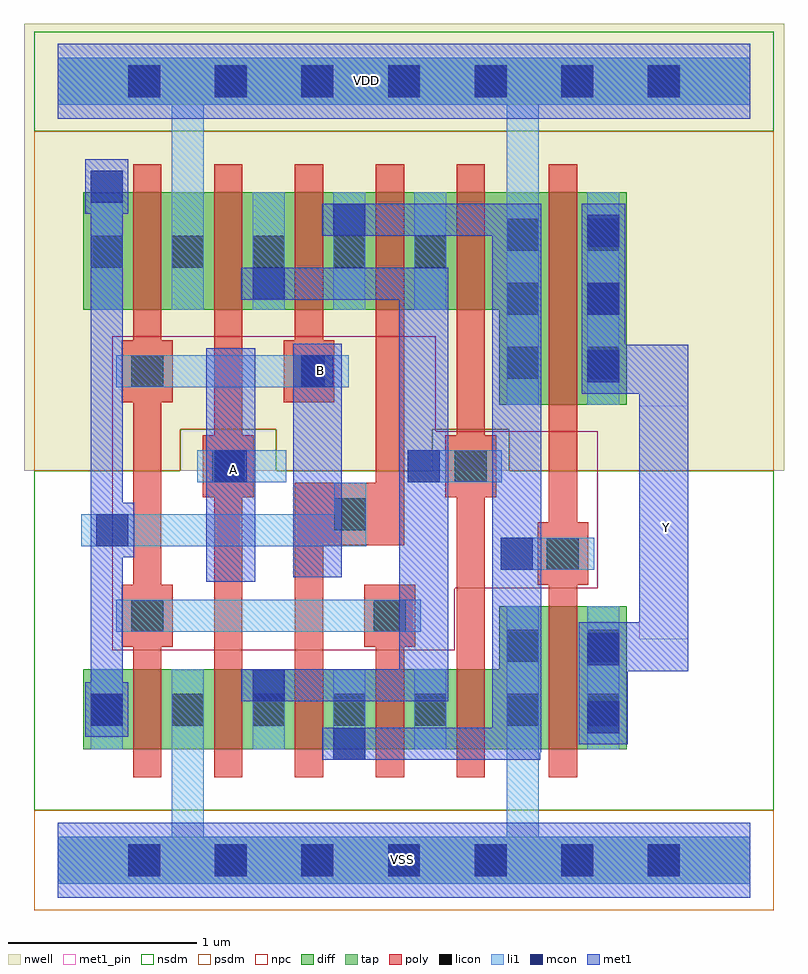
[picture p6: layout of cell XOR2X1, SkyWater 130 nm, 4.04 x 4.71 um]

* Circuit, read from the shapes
.subckt XOR2X1 A B VDD VSS Y
XM1 VSS B n1 VSS sky130_fd_pr__nfet_01v8 w=0.425 l=0.15
XM2 n2 A VSS VSS sky130_fd_pr__nfet_01v8 w=0.425 l=0.15
XM3 n3 n1 n2 VSS sky130_fd_pr__nfet_01v8 w=0.425 l=0.15
XM4 n4 B n3 VSS sky130_fd_pr__nfet_01v8 w=0.425 l=0.15
XM5 VSS n2 n4 VSS sky130_fd_pr__nfet_01v8 w=0.425 l=0.15
XM6 Y n3 VSS VSS sky130_fd_pr__nfet_01v8 w=0.76 l=0.15
XM7 VDD B n1 VDD sky130_fd_pr__pfet_01v8 w=0.625 l=0.15
XM8 n2 A VDD VDD sky130_fd_pr__pfet_01v8 w=0.625 l=0.15
XM9 n3 B n2 VDD sky130_fd_pr__pfet_01v8 w=0.625 l=0.15
XM10 n5 n1 n3 VDD sky130_fd_pr__pfet_01v8 w=0.625 l=0.15
XM11 VDD n2 n5 VDD sky130_fd_pr__pfet_01v8 w=0.625 l=0.15
XM12 Y n3 VDD VDD sky130_fd_pr__pfet_01v8 w=1.13 l=0.15
.ends

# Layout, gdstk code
from math import pi, radians
import gdstk
lib = gdstk.Library(unit=1e-6, precision=1e-09)
def R(c, l, rs):  # rectangles x0, y0, x1, y1
    for r in rs: c.add(gdstk.rectangle(r[:2], r[2:], *l))
def A(c, l, x, y, w, h, nx, ny, dx, dy):  # array of equal rectangles
    R(c, l, [(x+i*dx, y+j*dy, x+i*dx+w, y+j*dy+h) for i in range(nx) for j in range(ny)])
def P(c, l, *ps):  # polygons
    for p in ps: c.add(gdstk.Polygon(p, *l))
nwell = (64, 20)
diff = (65, 20)
tap = (65, 44)
poly = (66, 20)
licon = (66, 44)
li1 = (67, 20)
mcon = (67, 44)
met1_pin = (68, 16)
met1 = (68, 20)
nsdm = (93, 44)
psdm = (94, 20)
npc = (95, 20)

pfet_01v8_cdns_716492285 = lib.new_cell('pfet_01v8_CDNS_7164922852232')
R(pfet_01v8_cdns_716492285, nwell, [(-0.405,-0.18,0.385,0.805)])
R(pfet_01v8_cdns_716492285, diff, [(-0.225,0,0,0.625), (0,0,0.15,0.625), (0.15,0,0.205,0.625)])
R(pfet_01v8_cdns_716492285, poly, [(0,-0.15,0.15,-0.095), (0,-0.095,0.15,0), (0,0,0.15,0.625), (0,0.625,0.15,0.72), (0,0.72,0.15,0.775)])
R(pfet_01v8_cdns_716492285, psdm, [(-0.235,-0.13,0.215,0.755)])

nfet_01v8_cdns_716492285 = lib.new_cell('nfet_01v8_CDNS_7164922852233')
R(nfet_01v8_cdns_716492285, diff, [(-0.225,0,0,0.425), (0,0,0.15,0.425), (0.15,0,0.205,0.425)])
R(nfet_01v8_cdns_716492285, poly, [(0,-0.15,0.15,-0.095), (0,-0.095,0.15,0), (0,0,0.15,0.425), (0,0.425,0.15,0.52), (0,0.52,0.15,0.575)])
R(nfet_01v8_cdns_716492285, nsdm, [(-0.235,-0.13,0.215,0.555)])

c_nfet_01v8_cdns_716492285 = lib.new_cell('nfet_01v8_CDNS_7164922852225')
R(c_nfet_01v8_cdns_716492285, diff, [(-0.075,0,0,0.425), (0,0,0.15,0.425), (0.15,0,0.205,0.425)])
R(c_nfet_01v8_cdns_716492285, poly, [(0,-0.15,0.15,-0.095), (0,-0.095,0.15,0), (0,0,0.15,0.425), (0,0.425,0.15,0.52), (0,0.52,0.15,0.575)])
R(c_nfet_01v8_cdns_716492285, nsdm, [(0.045,-0.13,0.215,0.555)])

c_nfet_01v8_cdns_716492285_ = lib.new_cell('nfet_01v8_CDNS_7164922852234')
R(c_nfet_01v8_cdns_716492285_, diff, [(-0.265,0,0,0.76), (0,0,0.15,0.76), (0.15,0,0.415,0.76)])
R(c_nfet_01v8_cdns_716492285_, poly, [(0,-0.15,0.15,-0.095), (0,-0.095,0.15,0), (0,0,0.15,0.76), (0,0.76,0.15,0.855), (0,0.855,0.15,0.91)])
R(c_nfet_01v8_cdns_716492285_, licon, [(-0.225,0.125,-0.055,0.295), (0.205,0.125,0.375,0.295), (-0.225,0.465,-0.055,0.635), (0.205,0.465,0.375,0.635)])
R(c_nfet_01v8_cdns_716492285_, li1, [(-0.225,0,-0.055,0.76), (0.205,0,0.375,0.76)])
R(c_nfet_01v8_cdns_716492285_, nsdm, [(-0.405,-0.13,0.555,0.89)])

c_pfet_01v8_cdns_716492285 = lib.new_cell('pfet_01v8_CDNS_7164922852219')
R(c_pfet_01v8_cdns_716492285, nwell, [(-0.405,-0.18,0.595,0.805)])
R(c_pfet_01v8_cdns_716492285, diff, [(-0.225,0,0,0.625), (0,0,0.15,0.625), (0.15,0,0.415,0.625)])
R(c_pfet_01v8_cdns_716492285, poly, [(0,-0.15,0.15,-0.095), (0,-0.095,0.15,0), (0,0,0.15,0.625), (0,0.625,0.15,0.72), (0,0.72,0.15,0.775)])
R(c_pfet_01v8_cdns_716492285, licon, [(-0.225,0.225,-0.055,0.395), (0.205,0.225,0.375,0.395)])
R(c_pfet_01v8_cdns_716492285, li1, [(-0.225,0,-0.055,0.625), (0.205,0,0.375,0.625)])
R(c_pfet_01v8_cdns_716492285, psdm, [(-0.235,-0.13,0.555,0.755)])

c_pfet_01v8_cdns_716492285_ = lib.new_cell('pfet_01v8_CDNS_7164922852235')
R(c_pfet_01v8_cdns_716492285_, nwell, [(-0.255,-0.18,0.385,0.805)])
R(c_pfet_01v8_cdns_716492285_, diff, [(-0.075,0,0,0.625), (0,0,0.15,0.625), (0.15,0,0.205,0.625)])
R(c_pfet_01v8_cdns_716492285_, poly, [(0,-0.15,0.15,-0.095), (0,-0.095,0.15,0), (0,0,0.15,0.625), (0,0.625,0.15,0.72), (0,0.72,0.15,0.775)])
R(c_pfet_01v8_cdns_716492285_, psdm, [(0.045,-0.13,0.215,0.755)])

c_pfet_01v8_cdns_716492285__ = lib.new_cell('pfet_01v8_CDNS_7164922852236')
R(c_pfet_01v8_cdns_716492285__, nwell, [(-0.235,-0.18,0.555,0.805)])
R(c_pfet_01v8_cdns_716492285__, diff, [(-0.055,0,0,0.625), (0,0,0.15,0.625), (0.15,0,0.375,0.625)])
R(c_pfet_01v8_cdns_716492285__, poly, [(0,-0.15,0.15,-0.095), (0,-0.095,0.15,0), (0,0,0.15,0.625), (0,0.625,0.15,0.72), (0,0.72,0.15,0.775)])
R(c_pfet_01v8_cdns_716492285__, licon, [(0.205,0.225,0.375,0.395)])
R(c_pfet_01v8_cdns_716492285__, li1, [(0.205,0,0.375,0.625)])
R(c_pfet_01v8_cdns_716492285__, psdm, [(-0.065,-0.13,0.385,0.755)])

c_pfet_01v8_cdns_716492285___ = lib.new_cell('pfet_01v8_CDNS_7164922852237')
R(c_pfet_01v8_cdns_716492285___, nwell, [(-0.405,-0.18,0.385,0.805)])
R(c_pfet_01v8_cdns_716492285___, diff, [(-0.225,0,0,0.625), (0,0,0.15,0.625), (0.15,0,0.205,0.625)])
R(c_pfet_01v8_cdns_716492285___, poly, [(0,-0.15,0.15,-0.095), (0,-0.095,0.15,0), (0,0,0.15,0.625), (0,0.625,0.15,0.72), (0,0.72,0.15,0.775)])
R(c_pfet_01v8_cdns_716492285___, licon, [(-0.225,0.225,-0.055,0.395)])
R(c_pfet_01v8_cdns_716492285___, li1, [(-0.225,0,-0.055,0.625)])
R(c_pfet_01v8_cdns_716492285___, psdm, [(-0.235,-0.13,0.215,0.755)])

c_nfet_01v8_cdns_716492285__ = lib.new_cell('nfet_01v8_CDNS_716492285226')
R(c_nfet_01v8_cdns_716492285__, diff, [(-0.225,0,0,0.425), (0,0,0.15,0.425), (0.15,0,0.415,0.425)])
R(c_nfet_01v8_cdns_716492285__, poly, [(0,-0.15,0.15,-0.095), (0,-0.095,0.15,0), (0,0,0.15,0.425), (0,0.425,0.15,0.52), (0,0.52,0.15,0.575)])
R(c_nfet_01v8_cdns_716492285__, licon, [(-0.225,0.125,-0.055,0.295), (0.205,0.125,0.375,0.295)])
R(c_nfet_01v8_cdns_716492285__, li1, [(-0.225,0,-0.055,0.425), (0.205,0,0.375,0.425)])
R(c_nfet_01v8_cdns_716492285__, nsdm, [(-0.235,-0.13,0.555,0.555)])

c_pfet_01v8_cdns_716492285____ = lib.new_cell('pfet_01v8_CDNS_7164922852238')
R(c_pfet_01v8_cdns_716492285____, nwell, [(-0.445,-0.18,0.595,1.31)])
R(c_pfet_01v8_cdns_716492285____, diff, [(-0.265,0,0,1.13), (0,0,0.15,1.13), (0.15,0,0.415,1.13)])
R(c_pfet_01v8_cdns_716492285____, poly, [(0,-0.15,0.15,-0.095), (0,-0.095,0.15,0), (0,0,0.15,1.13), (0,1.13,0.15,1.225), (0,1.225,0.15,1.28)])
A(c_pfet_01v8_cdns_716492285____, licon, -0.225, 0.14, 0.17, 0.17, 1, 3, 0, 0.34)
A(c_pfet_01v8_cdns_716492285____, licon, 0.205, 0.14, 0.17, 0.17, 1, 3, 0, 0.34)
R(c_pfet_01v8_cdns_716492285____, li1, [(-0.225,0,-0.055,1.13), (0.205,0,0.375,1.13)])
R(c_pfet_01v8_cdns_716492285____, psdm, [(-0.405,-0.13,0.555,1.26)])

c_nfet_01v8_cdns_716492285___ = lib.new_cell('nfet_01v8_CDNS_7164922852239')
R(c_nfet_01v8_cdns_716492285___, diff, [(-0.055,0,0,0.425), (0,0,0.15,0.425), (0.15,0,0.375,0.425)])
R(c_nfet_01v8_cdns_716492285___, poly, [(0,-0.15,0.15,-0.095), (0,-0.095,0.15,0), (0,0,0.15,0.425), (0,0.425,0.15,0.52), (0,0.52,0.15,0.575)])
R(c_nfet_01v8_cdns_716492285___, licon, [(0.205,0.125,0.375,0.295)])
R(c_nfet_01v8_cdns_716492285___, li1, [(0.205,0,0.375,0.425)])
R(c_nfet_01v8_cdns_716492285___, nsdm, [(-0.065,-0.13,0.385,0.555)])

c_nfet_01v8_cdns_716492285____ = lib.new_cell('nfet_01v8_CDNS_7164922852230')
R(c_nfet_01v8_cdns_716492285____, diff, [(-0.055,0,0,0.425), (0,0,0.15,0.425), (0.15,0,0.375,0.425)])
R(c_nfet_01v8_cdns_716492285____, poly, [(0,-0.15,0.15,-0.095), (0,-0.095,0.15,0), (0,0,0.15,0.425), (0,0.425,0.15,0.52), (0,0.52,0.15,0.575)])
R(c_nfet_01v8_cdns_716492285____, licon, [(0.205,0.125,0.375,0.295)])
R(c_nfet_01v8_cdns_716492285____, li1, [(0.205,0,0.375,0.425)])
R(c_nfet_01v8_cdns_716492285____, nsdm, [(-0.065,-0.13,0.385,0.555)])

l1m1_c_cdns_716492285221 = lib.new_cell('L1M1_C_CDNS_7164922852214')
R(l1m1_c_cdns_716492285221, li1, [(-0.085,-0.165,0.085,0.085)])
R(l1m1_c_cdns_716492285221, mcon, [(-0.085,-0.085,0.085,0.085)])
R(l1m1_c_cdns_716492285221, met1, [(-0.115,-0.145,0.115,0.145)])

l1m1_c_cdns_716492285225 = lib.new_cell('L1M1_C_CDNS_716492285225')
R(l1m1_c_cdns_716492285225, li1, [(-0.085,-0.345,0.085,0.345)])
R(l1m1_c_cdns_716492285225, mcon, [(-0.085,-0.265,0.085,-0.095), (-0.085,0.095,0.085,0.265)])
R(l1m1_c_cdns_716492285225, met1, [(-0.115,-0.325,0.115,0.325)])

l1m1_c_cdns_716492285222 = lib.new_cell('L1M1_C_CDNS_716492285222')
R(l1m1_c_cdns_716492285222, li1, [(-0.085,-0.165,0.085,0.165)])
R(l1m1_c_cdns_716492285222, mcon, [(-0.085,-0.085,0.085,0.085)])
R(l1m1_c_cdns_716492285222, met1, [(-0.115,-0.145,0.115,0.145)])

pyl1con_c_cdns_716492285 = lib.new_cell('PYL1CON_C_CDNS_716492285220')
R(pyl1con_c_cdns_716492285, poly, [(-0.135,-0.165,0.135,0.165)])
R(pyl1con_c_cdns_716492285, licon, [(-0.085,-0.085,0.085,0.085)])
R(pyl1con_c_cdns_716492285, npc, [(-0.185,-0.185,0.185,0.185)])

l1m1_c_cdns_716492285223 = lib.new_cell('L1M1_C_CDNS_716492285223')
R(l1m1_c_cdns_716492285223, li1, [(-0.165,-0.085,0.165,0.085)])
R(l1m1_c_cdns_716492285223, mcon, [(-0.085,-0.085,0.085,0.085)])
R(l1m1_c_cdns_716492285223, met1, [(-0.115,-0.145,0.115,0.145)])

c_l1m1_c_cdns_716492285221 = lib.new_cell('L1M1_C_CDNS_7164922852212')
R(c_l1m1_c_cdns_716492285221, li1, [(-0.085,-0.085,0.085,0.085)])
R(c_l1m1_c_cdns_716492285221, mcon, [(-0.085,-0.085,0.085,0.085)])
R(c_l1m1_c_cdns_716492285221, met1, [(-0.145,-0.085,0.145,0.085)])

licondiff_c_cdns_7164922 = lib.new_cell('LICONDIFF_C_CDNS_7164922852213')
R(licondiff_c_cdns_7164922, diff, [(-0.125,-0.145,0.125,0.145)])
R(licondiff_c_cdns_7164922, licon, [(-0.085,-0.085,0.085,0.085), (-0.085,-0.085,0.085,0.085)])

l1m1_c_cdns_716492285224 = lib.new_cell('L1M1_C_CDNS_716492285224')
R(l1m1_c_cdns_716492285224, li1, [(-0.085,-0.525,0.085,0.525)])
A(l1m1_c_cdns_716492285224, mcon, -0.085, -0.445, 0.17, 0.17, 1, 3, 0, 0.36)
R(l1m1_c_cdns_716492285224, met1, [(-0.115,-0.505,0.115,0.505)])

c_l1m1_c_cdns_716492285221_ = lib.new_cell('L1M1_C_CDNS_7164922852215')
R(c_l1m1_c_cdns_716492285221_, li1, [(-0.085,-0.165,0.085,0.085)])
R(c_l1m1_c_cdns_716492285221_, mcon, [(-0.085,-0.085,0.085,0.085)])
R(c_l1m1_c_cdns_716492285221_, met1, [(-0.115,-0.13,0.115,0.13)])

xor2x1 = lib.new_cell('XOR2X1')
R(xor2x1, nwell, [(-0.18,2.07,3.86,4.305), (-0.18,3.875,3.86,4.445)])
A(xor2x1, licon, 0.375, -0.085, 0.17, 0.17, 7, 2, 0.46, 4.14)
A(xor2x1, mcon, 0.375, -0.085, 0.17, 0.17, 7, 2, 0.46, 4.14)
R(xor2x1, met1_pin, [(3.09,1.175,3.35,2.415), (0.79,1.48,1.05,2.72), (1.25,1.505,1.51,2.745)])
R(xor2x1, nsdm, [(-0.125,3.875,3.805,4.405), (-0.125,3.93,3.805,4.35)])
P(xor2x1, nsdm, [(3.805,2.07),(2.4,2.07),(2.4,2.29),(1.99,2.29),(1.99,2.07),(1.16,2.07),(1.16,2.29),(0.65,2.29),(0.65,2.07),(-0.125,2.07),(-0.125,0.265),(3.805,0.265)])
R(xor2x1, psdm, [(-0.125,-0.265,3.805,0.265), (-0.125,-0.21,3.805,0.21)])
P(xor2x1, psdm, [(3.805,3.875),(-0.125,3.875),(-0.125,2.07),(0.65,2.07),(0.65,2.29),(1.16,2.29),(1.16,2.07),(1.99,2.07),(1.99,2.29),(2.4,2.29),(2.4,2.07),(3.805,2.07)])
P(xor2x1, npc, [(2.87,2.28),(2.01,2.28),(2.01,2.785),(0.29,2.785),(0.29,1.115),(2.11,1.115),(2.11,1.445),(2.87,1.445)])
xor2x1.add(gdstk.FlexPath([(2.685,2.27),(2.685,1.44)], 0.15, ends="flush", simple_path=True, layer=66, datatype=20))  # poly
xor2x1.add(gdstk.FlexPath([(2.195,2.775),(2.195,1.165)], 0.15, ends="flush", simple_path=True, layer=66, datatype=20))  # poly
xor2x1.add(gdstk.FlexPath([(1.335,2.775),(1.335,2.6)], 0.15, ends="flush", simple_path=True, layer=66, datatype=20))  # poly
xor2x1.add(gdstk.FlexPath([(1.765,2.775),(1.765,1.815)], 0.15, ends=(0, 0.14), simple_path=True, layer=66, datatype=20))  # poly
xor2x1.add(gdstk.FlexPath([(1.395,1.84),(1.69,1.84)], 0.33, ends="flush", simple_path=True, layer=66, datatype=20))  # poly
xor2x1.add(gdstk.FlexPath([(1.335,1.865),(1.335,1.165)], 0.15, ends=(0.14, 0), simple_path=True, layer=66, datatype=20))  # poly
xor2x1.add(gdstk.FlexPath([(1.765,1.165),(1.765,1.34)], 0.15, ends="flush", simple_path=True, layer=66, datatype=20))  # poly
xor2x1.add(gdstk.FlexPath([(0.905,2.775),(0.905,1.135)], 0.15, ends="flush", simple_path=True, layer=66, datatype=20))  # poly
xor2x1.add(gdstk.FlexPath([(0.475,2.775),(0.475,1.165)], 0.15, ends="flush", simple_path=True, layer=66, datatype=20))  # poly
xor2x1.add(gdstk.FlexPath([(2.435,1.63),(2.85,1.63)], 0.17, ends="flush", simple_path=True, layer=67, datatype=20))  # li1
xor2x1.add(gdstk.FlexPath([(1.215,2.095),(0.74,2.095)], 0.17, ends="flush", simple_path=True, layer=67, datatype=20))  # li1
xor2x1.add(gdstk.FlexPath([(0.31,2.6),(1.5,2.6)], 0.17, ends="flush", simple_path=True, layer=67, datatype=20))  # li1
xor2x1.add(gdstk.FlexPath([(0.25,1.755),(1.64,1.755)], 0.17, ends="flush", simple_path=True, layer=67, datatype=20))  # li1
xor2x1.add(gdstk.FlexPath([(0.31,1.3),(1.93,1.3)], 0.17, ends="flush", simple_path=True, layer=67, datatype=20))  # li1
xor2x1.add(gdstk.FlexPath([(1.945,2.095),(2.36,2.095)], 0.17, ends="flush", simple_path=True, layer=67, datatype=20))  # li1
xor2x1.add(gdstk.FlexPath([(1.98,2.925),(1.98,3.55)], 0.17, ends="flush", simple_path=True, layer=67, datatype=20))  # li1
xor2x1.add(gdstk.FlexPath([(1.98,0.59),(1.98,1.015)], 0.17, ends="flush", simple_path=True, layer=67, datatype=20))  # li1
xor2x1.add(gdstk.FlexPath([(1.555,1.84),(1.555,2.005)], 0.17, ends="flush", simple_path=True, layer=67, datatype=20))  # li1
xor2x1.add(gdstk.FlexPath([(2.47,0),(3.42,0)], 0.25, ends=(0.085, 0.085), simple_path=True, layer=67, datatype=20))  # li1
xor2x1.add(gdstk.FlexPath([(3.42,0),(3.595,0)], 0.25, ends=(0.085, 0.085), simple_path=True, layer=67, datatype=20))  # li1
xor2x1.add(gdstk.FlexPath([(0.69,0),(2.47,0)], 0.25, ends=(0.085, 0.085), simple_path=True, layer=67, datatype=20))  # li1
xor2x1.add(gdstk.FlexPath([(3.595,0),(3.68,0)], 0.25, ends=(0.085, 0), simple_path=True, layer=67, datatype=20))  # li1
xor2x1.add(gdstk.FlexPath([(0,0),(0.69,0)], 0.25, ends=(0, 0.085), simple_path=True, layer=67, datatype=20))  # li1
xor2x1.add(gdstk.FlexPath([(2.47,4.14),(3.42,4.14)], 0.25, ends=(0.085, 0.085), simple_path=True, layer=67, datatype=20))  # li1
xor2x1.add(gdstk.FlexPath([(0,4.14),(0.69,4.14)], 0.25, ends=(0, 0.085), simple_path=True, layer=67, datatype=20))  # li1
xor2x1.add(gdstk.FlexPath([(3.42,4.14),(3.595,4.14)], 0.25, ends=(0.085, 0.085), simple_path=True, layer=67, datatype=20))  # li1
xor2x1.add(gdstk.FlexPath([(0.69,4.14),(2.47,4.14)], 0.25, ends=(0.085, 0.085), simple_path=True, layer=67, datatype=20))  # li1
xor2x1.add(gdstk.FlexPath([(0.69,0.59),(0.69,0)], 0.17, ends=(0, 0.085), simple_path=True, layer=67, datatype=20))  # li1
xor2x1.add(gdstk.FlexPath([(3.595,4.14),(3.68,4.14)], 0.25, ends=(0.085, 0), simple_path=True, layer=67, datatype=20))  # li1
xor2x1.add(gdstk.FlexPath([(2.47,0),(2.47,0.59)], 0.17, ends=(0.085, 0), simple_path=True, layer=67, datatype=20))  # li1
xor2x1.add(gdstk.FlexPath([(0.69,0),(2.47,0)], 0.17, ends="extended", simple_path=True, layer=67, datatype=20))  # li1
xor2x1.add(gdstk.FlexPath([(0.69,3.55),(0.69,4.14)], 0.17, ends=(0, 0.085), simple_path=True, layer=67, datatype=20))  # li1
xor2x1.add(gdstk.FlexPath([(2.47,3.55),(2.47,4.14)], 0.17, ends=(0, 0.085), simple_path=True, layer=67, datatype=20))  # li1
xor2x1.add(gdstk.FlexPath([(2.47,4.14),(0.69,4.14)], 0.17, ends="extended", simple_path=True, layer=67, datatype=20))  # li1
xor2x1.add(gdstk.FlexPath([(0,0),(3.68,0)], 0.4, ends="flush", simple_path=True, layer=68, datatype=16))  # met1_pin
xor2x1.add(gdstk.FlexPath([(0,4.14),(3.68,4.14)], 0.4, ends="flush", simple_path=True, layer=68, datatype=16))  # met1_pin
xor2x1.add(gdstk.FlexPath([(0,4.14),(3.68,4.14)], 0.25, ends="flush", simple_path=True, layer=65, datatype=44))  # tap
xor2x1.add(gdstk.FlexPath([(0,0),(3.68,0)], 0.25, ends="flush", simple_path=True, layer=65, datatype=44))  # tap
xor2x1.add(gdstk.FlexPath([(3.22,1.175),(3.22,1.135)], 0.26, ends=(0, 0.13), simple_path=True, layer=68, datatype=20))  # met1
xor2x1.add(gdstk.FlexPath([(3.22,1.135),(2.9,1.135)], 0.26, ends="extended", simple_path=True, layer=68, datatype=20))  # met1
xor2x1.add(gdstk.FlexPath([(2.9,1.065),(2.9,0.94)], 0.26, ends=(0.13, 0.325), simple_path=True, layer=68, datatype=20))  # met1
xor2x1.add(gdstk.FlexPath([(3.22,2.415),(3.22,2.61)], 0.26, ends=(0, 0.13), simple_path=True, layer=68, datatype=20))  # met1
xor2x1.add(gdstk.FlexPath([(3.22,2.61),(2.9,2.61)], 0.26, ends=(0.13, 0), simple_path=True, layer=68, datatype=20))  # met1
xor2x1.add(gdstk.FlexPath([(1.405,3.405),(2.44,3.405)], 0.17, ends=(0, 0.13), simple_path=True, layer=68, datatype=20))  # met1
xor2x1.add(gdstk.FlexPath([(2.435,0.62),(1.405,0.62)], 0.17, ends=(0.13, 0), simple_path=True, layer=68, datatype=20))  # met1
xor2x1.add(gdstk.FlexPath([(2.44,3.405),(2.44,2.165)], 0.26, ends=(0.085, 0), simple_path=True, layer=68, datatype=20))  # met1
xor2x1.add(gdstk.FlexPath([(2.44,2.165),(2.44,0.66)], 0.26, ends=(0, 0.085), simple_path=True, layer=68, datatype=20))  # met1
xor2x1.add(gdstk.FlexPath([(0.975,3.065),(1.945,3.065)], 0.17, ends=(0, 0.13), simple_path=True, layer=68, datatype=20))  # met1
xor2x1.add(gdstk.FlexPath([(1.945,3.065),(1.945,2.165)], 0.26, ends=(0.085, 0), simple_path=True, layer=68, datatype=20))  # met1
xor2x1.add(gdstk.FlexPath([(1.945,0.93),(1.12,0.93)], 0.17, ends=(0.13, 0), simple_path=True, layer=68, datatype=20))  # met1
xor2x1.add(gdstk.FlexPath([(1.945,2.165),(1.945,0.97)], 0.26, ends=(0, 0.085), simple_path=True, layer=68, datatype=20))  # met1
xor2x1.add(gdstk.FlexPath([(0.26,0.655),(0.26,3.725)], 0.17, ends="flush", simple_path=True, layer=68, datatype=20))  # met1
xor2x1.add(gdstk.FlexPath([(0.92,1.48),(0.92,2.72)], 0.26, ends="flush", simple_path=True, layer=68, datatype=20))  # met1
xor2x1.add(gdstk.FlexPath([(1.38,1.505),(1.38,2.745)], 0.26, ends="flush", simple_path=True, layer=68, datatype=20))  # met1
xor2x1.add(gdstk.FlexPath([(3.22,1.175),(3.22,2.415)], 0.26, ends="flush", simple_path=True, layer=68, datatype=20))  # met1
xor2x1.add(gdstk.FlexPath([(0,4.14),(3.68,4.14)], 0.4, ends="flush", simple_path=True, layer=68, datatype=20))  # met1
xor2x1.add(gdstk.FlexPath([(0,0),(3.68,0)], 0.4, ends="flush", simple_path=True, layer=68, datatype=20))  # met1
xor2x1.add(gdstk.Reference(pfet_01v8_cdns_716492285, (1.84,2.925), rotation=pi, x_reflection=True))
xor2x1.add(gdstk.Reference(nfet_01v8_cdns_716492285, (1.84,0.59), rotation=pi, x_reflection=True))
xor2x1.add(gdstk.Reference(c_nfet_01v8_cdns_716492285, (2.27,0.59), rotation=pi, x_reflection=True))
xor2x1.add(gdstk.Reference(c_nfet_01v8_cdns_716492285_, (2.61,0.59)))
xor2x1.add(gdstk.Reference(c_pfet_01v8_cdns_716492285, (0.55,2.925), rotation=pi, x_reflection=True))
xor2x1.add(gdstk.Reference(c_pfet_01v8_cdns_716492285_, (2.27,2.925), rotation=pi, x_reflection=True))
xor2x1.add(gdstk.Reference(c_pfet_01v8_cdns_716492285__, (0.83,2.925)))
xor2x1.add(gdstk.Reference(c_pfet_01v8_cdns_716492285___, (1.41,2.925), rotation=pi, x_reflection=True))
xor2x1.add(gdstk.Reference(c_nfet_01v8_cdns_716492285__, (0.55,0.59), rotation=pi, x_reflection=True))
xor2x1.add(gdstk.Reference(c_pfet_01v8_cdns_716492285____, (2.61,2.42)))
xor2x1.add(gdstk.Reference(c_nfet_01v8_cdns_716492285___, (0.83,0.59)))
xor2x1.add(gdstk.Reference(c_nfet_01v8_cdns_716492285____, (1.26,0.59)))
xor2x1.add(gdstk.Reference(l1m1_c_cdns_716492285221, (0.26,3.58)))
xor2x1.add(gdstk.Reference(l1m1_c_cdns_716492285225, (2.9,0.94)))
xor2x1.add(gdstk.Reference(l1m1_c_cdns_716492285222, (0.26,0.8)))
xor2x1.add(gdstk.Reference(pyl1con_c_cdns_716492285, (2.685,1.63), rotation=pi))
xor2x1.add(gdstk.Reference(pyl1con_c_cdns_716492285, (2.195,2.095), rotation=pi))
xor2x1.add(gdstk.Reference(pyl1con_c_cdns_716492285, (0.905,2.095), rotation=pi))
xor2x1.add(gdstk.Reference(pyl1con_c_cdns_716492285, (1.335,2.6), rotation=pi))
xor2x1.add(gdstk.Reference(pyl1con_c_cdns_716492285, (0.475,2.6), rotation=pi))
xor2x1.add(gdstk.Reference(pyl1con_c_cdns_716492285, (1.555,1.84), rotation=pi))
xor2x1.add(gdstk.Reference(pyl1con_c_cdns_716492285, (1.765,1.3), rotation=pi))
xor2x1.add(gdstk.Reference(pyl1con_c_cdns_716492285, (0.475,1.3), rotation=pi))
xor2x1.add(gdstk.Reference(l1m1_c_cdns_716492285223, (1.38,2.6), x_reflection=True))
xor2x1.add(gdstk.Reference(l1m1_c_cdns_716492285223, (0.92,2.095), x_reflection=True))
xor2x1.add(gdstk.Reference(l1m1_c_cdns_716492285223, (0.29,1.755), rotation=pi, x_reflection=True))
xor2x1.add(gdstk.Reference(c_l1m1_c_cdns_716492285221, (1.55,3.405), rotation=pi))
xor2x1.add(gdstk.Reference(c_l1m1_c_cdns_716492285221, (1.12,0.93), rotation=pi))
xor2x1.add(gdstk.Reference(c_l1m1_c_cdns_716492285221, (1.55,0.62), rotation=pi))
xor2x1.add(gdstk.Reference(c_l1m1_c_cdns_716492285221, (1.12,3.065), rotation=pi))
xor2x1.add(gdstk.Reference(licondiff_c_cdns_7164922, (1.98,0.8)))
xor2x1.add(gdstk.Reference(licondiff_c_cdns_7164922, (1.98,3.235)))
xor2x1.add(gdstk.Reference(l1m1_c_cdns_716492285224, (2.9,2.985)))
xor2x1.add(gdstk.Reference(c_l1m1_c_cdns_716492285221_, (1.945,2.095), rotation=pi/2))
xor2x1.add(gdstk.Reference(c_l1m1_c_cdns_716492285221_, (2.44,1.63), rotation=pi/2))
xor2x1.add(gdstk.Label('VDD', (1.64,4.145), layer=68, texttype=16))
xor2x1.add(gdstk.Label('B', (1.395,2.605), layer=68, texttype=16))
xor2x1.add(gdstk.Label('Y', (3.235,1.77), layer=68, texttype=16))
xor2x1.add(gdstk.Label('A', (0.935,2.075), layer=68, texttype=16))
xor2x1.add(gdstk.Label('VSS', (1.83,0.005), layer=68, texttype=16))

lib.write_gds('XOR2X1.gds')
